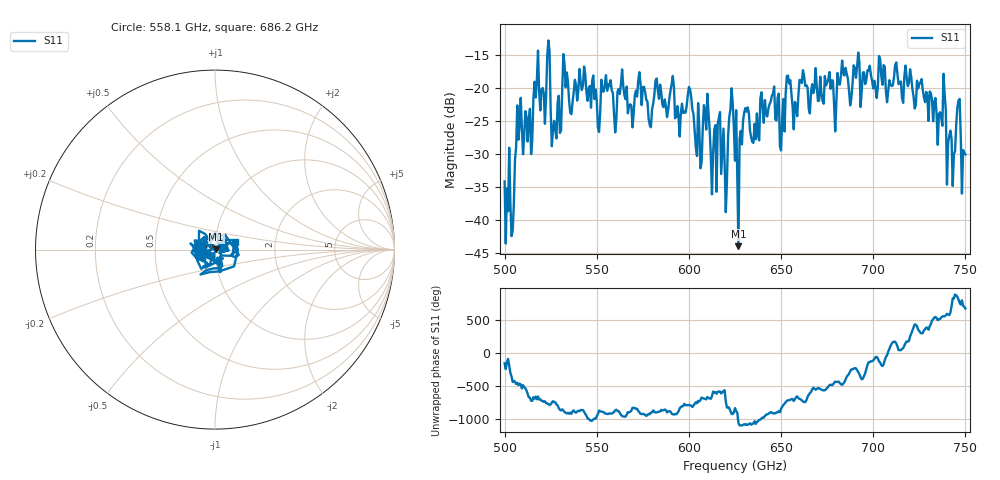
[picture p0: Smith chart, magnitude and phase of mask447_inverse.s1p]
!Created with skrf (http://scikit-rf.org).
# GHz S MA R 50.0
!freq magS11 angS11
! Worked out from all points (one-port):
!   401 points, 500 GHz to 750 GHz, reference 50 ohm
!   lowest |S11| = -44.0 dB at 626.9 GHz (marker M1), VSWR 1.01, Z = 50.6 + j0.227 ohm
!   |S11| at or under -10 dB: start of sweep to end of sweep
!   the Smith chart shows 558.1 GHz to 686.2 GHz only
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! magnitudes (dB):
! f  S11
! 500 GHz  -34.2
! 504.4 GHz  -41.6
! 507.5 GHz  -27.9
! 513.8 GHz  -23.2
! 516.9 GHz  -21.5
! 523.8 GHz  -12.8
! 526.9 GHz  -25.0
! 531.2 GHz  -20.3
! 562.5 GHz  -21.0
! 579.4 GHz  -26.0
! 590.6 GHz  -19.5
! 593.8 GHz  -22.8
! 600.6 GHz  -20.3
! 605.6 GHz  -26.2
! 609.4 GHz  -26.3
! 619.4 GHz  -31.4
! 622.5 GHz  -23.3
! 625 GHz  -31.1
! 626.9 GHz  -44.0
! 631.2 GHz  -23.6
! 635 GHz  -28.3
! 656.2 GHz  -22.9
! 687.5 GHz  -22.7
! 718.8 GHz  -19.8
! 738.1 GHz  -17.9
! 743.1 GHz  -34.9
! 746.2 GHz  -22.0
! 750 GHz  -30.1
